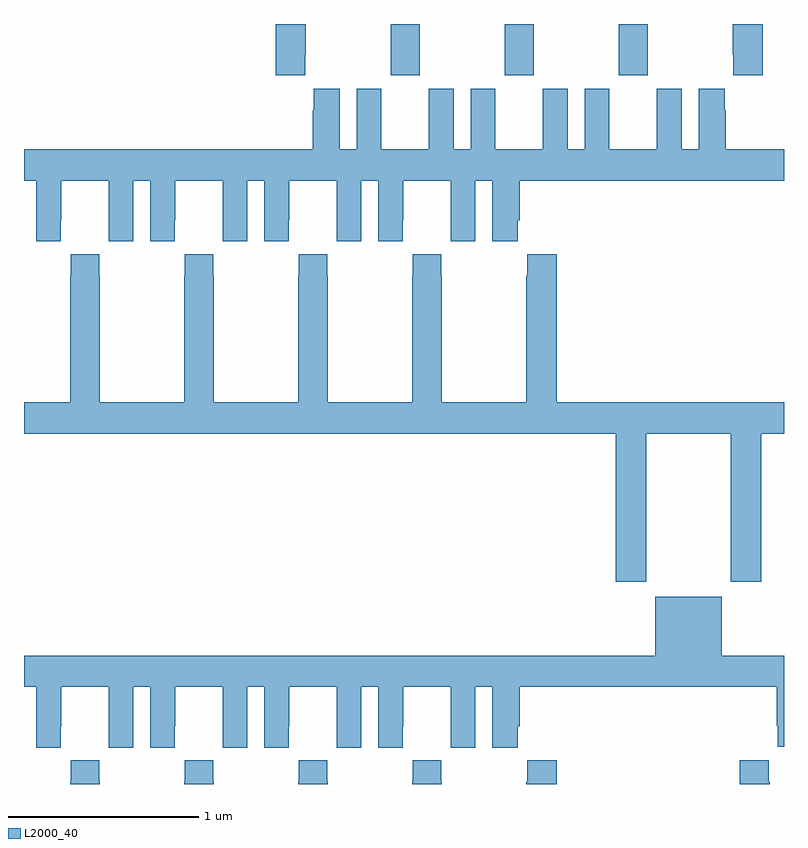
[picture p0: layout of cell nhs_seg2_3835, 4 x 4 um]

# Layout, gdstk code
import gdstk
lib = gdstk.Library(unit=1e-6, precision=1e-09)
def R(c, l, rs):  # rectangles x0, y0, x1, y1
    for r in rs: c.add(gdstk.rectangle(r[:2], r[2:], *l))
def A(c, l, x, y, w, h, nx, ny, dx, dy):  # array of equal rectangles
    R(c, l, [(x+i*dx, y+j*dy, x+i*dx+w, y+j*dy+h) for i in range(nx) for j in range(ny)])
def P(c, l, *ps):  # polygons
    for p in ps: c.add(gdstk.Polygon(p, *l))
L2000_40 = (2000, 40)

nhs_seg2_3835 = lib.new_cell('nhs_seg2_3835')
A(nhs_seg2_3835, L2000_40, 314.929, 641.529, 0.155, 0.271, 3, 1, 0.6, 0)
P(nhs_seg2_3835, L2000_40, [(316.889,641.8),(316.729,641.8),(316.729,641.641),(316.733,641.641),(316.733,641.529),(316.889,641.529)],
  [(314.479,641.641),(314.484,641.641),(314.484,641.8),(314.324,641.8),(314.324,641.529),(314.479,641.529)],
  [(313.194,640.768),(313.195,640.768),(313.195,640.976),(313.445,640.976),(313.445,640.768),(313.446,640.768),(313.446,640.656),(313.576,640.656),(313.576,640.976),(313.664,640.976),(313.664,640.656),(313.794,640.656),(313.794,640.768),(313.795,640.768),(313.795,640.976),(314.045,640.976),(314.045,640.768),(314.046,640.768),(314.046,640.656),(314.176,640.656),(314.176,640.976),(314.264,640.976),(314.264,640.656),(314.394,640.656),(314.394,640.768),(314.395,640.768),(314.395,640.976),(314.645,640.976),(314.645,640.768),(314.646,640.768),(314.646,640.656),(314.776,640.656),(314.776,640.976),(314.864,640.976),(314.864,640.656),(314.994,640.656),(314.994,640.768),(314.995,640.768),(314.995,640.976),(315.245,640.976),(315.245,640.768),(315.246,640.768),(315.246,640.656),(315.376,640.656),(315.376,640.976),(315.464,640.976),(315.464,640.656),(315.598,640.656),(315.598,640.768),(315.608,640.768),(315.608,640.976),(317,640.976),(317,641.14),(316.694,641.14),(316.694,641.345),(316.687,641.345),(316.687,641.458),(316.55,641.458),(316.55,641.14),(316.462,641.14),(316.462,641.458),(316.331,641.458),(316.331,641.14),(316.081,641.14),(316.081,641.458),(315.95,641.458),(315.95,641.14),(315.862,641.14),(315.862,641.458),(315.731,641.458),(315.731,641.14),(315.481,641.14),(315.481,641.458),(315.35,641.458),(315.35,641.14),(315.262,641.14),(315.262,641.458),(315.131,641.458),(315.131,641.14),(314.881,641.14),(314.881,641.458),(314.75,641.458),(314.75,641.14),(314.662,641.14),(314.662,641.458),(314.525,641.458),(314.525,641.345),(314.519,641.345),(314.519,641.14),(313,641.14),(313,640.976),(313.064,640.976),(313.064,640.656),(313.194,640.656)],
  [(316.275,639.644),(316.72,639.644),(316.72,638.865),(316.88,638.865),(316.88,639.644),(317,639.644),(317,639.808),(315.803,639.808),(315.803,640.588),(315.649,640.588),(315.649,640.475),(315.643,640.475),(315.643,639.808),(315.198,639.808),(315.198,640.475),(315.195,640.475),(315.195,640.588),(315.045,640.588),(315.045,640.475),(315.043,640.475),(315.043,639.808),(314.598,639.808),(314.598,640.475),(314.595,640.475),(314.595,640.588),(314.445,640.588),(314.445,640.475),(314.443,640.475),(314.443,639.808),(313.998,639.808),(313.998,640.475),(313.995,640.475),(313.995,640.588),(313.845,640.588),(313.845,640.475),(313.843,640.475),(313.843,639.808),(313.398,639.808),(313.398,640.475),(313.395,640.475),(313.395,640.588),(313.245,640.588),(313.245,640.475),(313.243,640.475),(313.243,639.808),(313,639.808),(313,639.644),(316.115,639.644),(316.115,638.865),(316.275,638.865)],
  [(313.194,638.104),(313.195,638.104),(313.195,638.312),(313.445,638.312),(313.445,638.104),(313.446,638.104),(313.446,637.992),(313.576,637.992),(313.576,638.312),(313.664,638.312),(313.664,637.992),(313.794,637.992),(313.794,638.104),(313.795,638.104),(313.795,638.312),(314.045,638.312),(314.045,638.104),(314.046,638.104),(314.046,637.992),(314.176,637.992),(314.176,638.312),(314.264,638.312),(314.264,637.992),(314.394,637.992),(314.394,638.104),(314.395,638.104),(314.395,638.312),(314.645,638.312),(314.645,638.104),(314.646,638.104),(314.646,637.992),(314.776,637.992),(314.776,638.312),(314.864,638.312),(314.864,637.992),(314.994,637.992),(314.994,638.104),(314.995,638.104),(314.995,638.312),(315.245,638.312),(315.245,638.104),(315.246,638.104),(315.246,637.992),(315.376,637.992),(315.376,638.312),(315.464,638.312),(315.464,637.992),(315.598,637.992),(315.598,638.104),(315.608,638.104),(315.608,638.312),(316.961,638.312),(316.961,638.107),(316.967,638.107),(316.967,637.995),(317,637.995),(317,638.476),(316.672,638.476),(316.672,638.785),(316.322,638.785),(316.322,638.476),(313,638.476),(313,638.312),(313.064,638.312),(313.064,637.992),(313.194,637.992)],
  [(316.926,637.811),(316.921,637.811),(316.921,637.924),(316.766,637.924),(316.766,637.8),(316.926,637.8)],
  [(315.198,637.811),(315.195,637.811),(315.195,637.924),(315.045,637.924),(315.045,637.811),(315.043,637.811),(315.043,637.8),(315.198,637.8)],
  [(314.598,637.811),(314.595,637.811),(314.595,637.924),(314.445,637.924),(314.445,637.811),(314.443,637.811),(314.443,637.8),(314.598,637.8)],
  [(313.998,637.811),(313.995,637.811),(313.995,637.924),(313.845,637.924),(313.845,637.811),(313.843,637.811),(313.843,637.8),(313.998,637.8)],
  [(313.398,637.811),(313.395,637.811),(313.395,637.924),(313.245,637.924),(313.245,637.811),(313.243,637.811),(313.243,637.8),(313.398,637.8)],
  [(315.803,637.924),(315.649,637.924),(315.649,637.811),(315.643,637.811),(315.643,637.8),(315.803,637.8)])

lib.write_gds('nhs_seg2_3835.gds')
